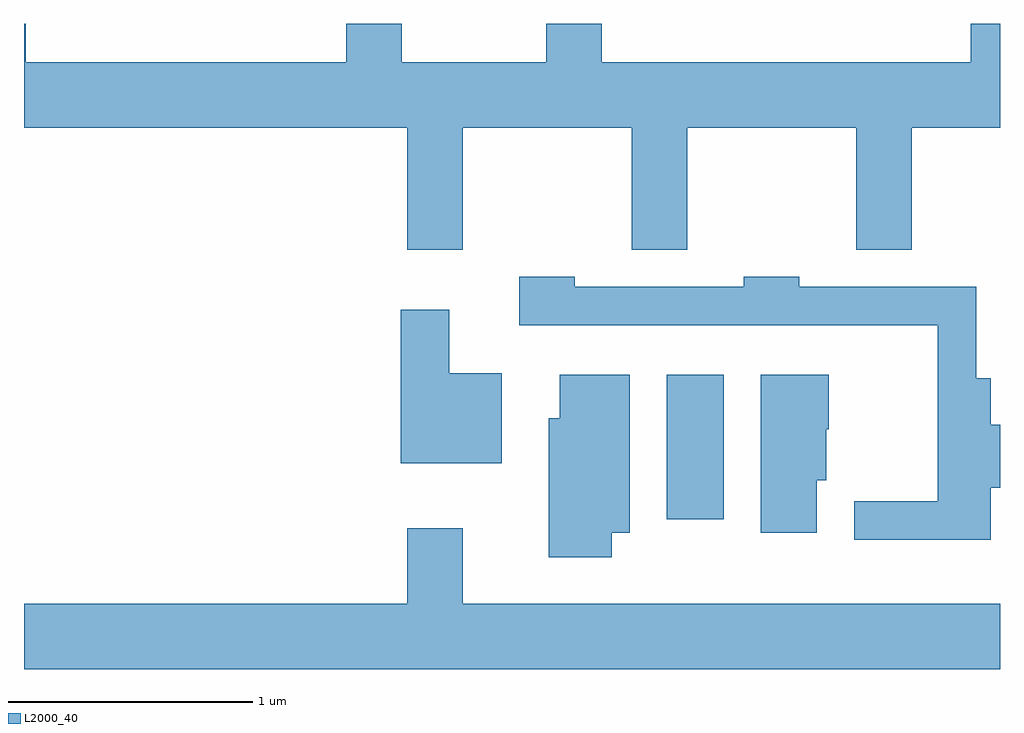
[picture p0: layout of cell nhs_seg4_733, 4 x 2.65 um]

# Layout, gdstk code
import gdstk
lib = gdstk.Library(unit=1e-6, precision=1e-09)
def R(c, l, rs):  # rectangles x0, y0, x1, y1
    for r in rs: c.add(gdstk.rectangle(r[:2], r[2:], *l))
def P(c, l, *ps):  # polygons
    for p in ps: c.add(gdstk.Polygon(p, *l))
L2000_40 = (2000, 40)

nhs_seg4_733 = lib.new_cell('nhs_seg4_733')
R(nhs_seg4_733, L2000_40, [(208.246,1361.951,208.479,1362.544)])
P(nhs_seg4_733, L2000_40, [(207.409,1363.556),(208.101,1363.556),(208.101,1363.056),(208.329,1363.056),(208.329,1363.556),(209.021,1363.556),(209.021,1363.056),(209.249,1363.056),(209.249,1363.556),(209.611,1363.556),(209.611,1363.982),(209.491,1363.982),(209.491,1363.824),(207.979,1363.824),(207.979,1363.982),(207.751,1363.982),(207.751,1363.824),(207.159,1363.824),(207.159,1363.982),(206.931,1363.982),(206.931,1363.824),(205.619,1363.824),(205.619,1363.982),(205.611,1363.982),(205.611,1363.556),(207.181,1363.556),(207.181,1363.056),(207.409,1363.056)],
  [(209.574,1362.081),(209.611,1362.081),(209.611,1362.339),(209.574,1362.339),(209.574,1362.529),(209.514,1362.529),(209.514,1362.904),(208.789,1362.904),(208.789,1362.944),(208.561,1362.944),(208.561,1362.904),(207.869,1362.904),(207.869,1362.944),(207.641,1362.944),(207.641,1362.746),(209.356,1362.746),(209.356,1362.024),(209.013,1362.024),(209.013,1361.866),(209.574,1361.866)],
  [(207.569,1362.549),(207.354,1362.549),(207.354,1362.809),(207.156,1362.809),(207.156,1362.181),(207.569,1362.181)],
  [(208.019,1361.896),(208.094,1361.896),(208.094,1362.544),(207.806,1362.544),(207.806,1362.364),(207.761,1362.364),(207.761,1361.796),(208.019,1361.796)],
  [(208.859,1362.111),(208.899,1362.111),(208.899,1362.32),(208.909,1362.32),(208.909,1362.544),(208.631,1362.544),(208.631,1361.896),(208.859,1361.896)],
  [(209.611,1361.604),(207.409,1361.604),(207.409,1361.914),(207.181,1361.914),(207.181,1361.604),(205.611,1361.604),(205.611,1361.336),(209.611,1361.336)])

lib.write_gds('nhs_seg4_733.gds')
